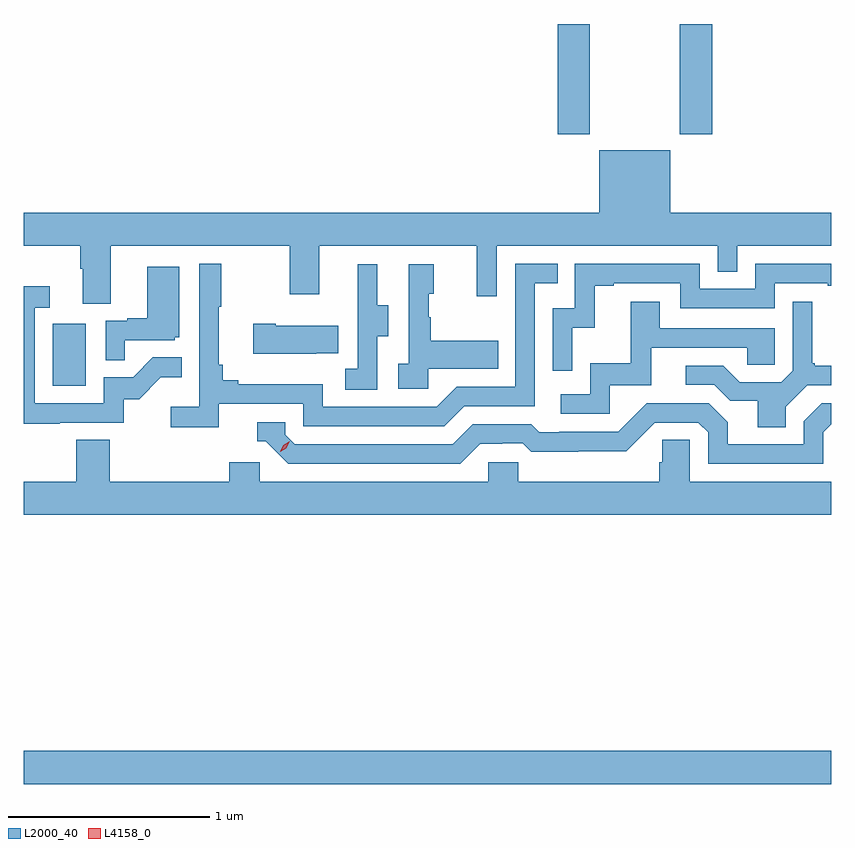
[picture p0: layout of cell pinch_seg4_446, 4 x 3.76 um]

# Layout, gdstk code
import gdstk
lib = gdstk.Library(unit=1e-6, precision=1e-09)
def R(c, l, rs):  # rectangles x0, y0, x1, y1
    for r in rs: c.add(gdstk.rectangle(r[:2], r[2:], *l))
def P(c, l, *ps):  # polygons
    for p in ps: c.add(gdstk.Polygon(p, *l))
L2000_40 = (2000, 40)
L4158_0 = (4158, 0)

pinch_seg4_446 = lib.new_cell('pinch_seg4_446')
R(pinch_seg4_446, L2000_40, [(901.549,774.176,905.549,774.34), (901.694,776.148,901.858,776.455), (904.193,777.393,904.353,777.939), (904.798,777.393,904.958,777.939)])
P(pinch_seg4_446, L2000_40, [(901.981,776.84),(902.866,776.84),(902.866,776.601),(903.013,776.601),(903.013,776.84),(903.794,776.84),(903.794,776.592),(903.891,776.592),(903.891,776.84),(904.986,776.84),(904.986,776.713),(905.082,776.713),(905.082,776.84),(905.549,776.84),(905.549,777.004),(904.75,777.004),(904.75,777.313),(904.4,777.313),(904.4,777.004),(901.549,777.004),(901.549,776.84),(901.829,776.84),(901.829,776.728),(901.841,776.728),(901.841,776.554),(901.981,776.554)],
  [(902.516,776.058),(902.934,776.058),(902.934,775.947),(903.631,775.947),(903.73,776.046),(904.08,776.046),(904.08,776.655),(904.193,776.655),(904.193,776.751),(903.984,776.751),(903.984,776.142),(903.693,776.142),(903.594,776.043),(903.03,776.043),(903.03,776.155),(902.611,776.155),(902.611,776.174),(902.534,776.174),(902.534,776.251),(902.515,776.251),(902.515,776.539),(902.527,776.539),(902.527,776.752),(902.418,776.752),(902.418,776.044),(902.277,776.044),(902.277,775.942),(902.516,775.942)],
  [(904.266,776.435),(904.376,776.435),(904.376,776.643),(904.471,776.643),(904.471,776.655),(904.8,776.655),(904.8,776.532),(905.268,776.532),(905.268,776.655),(905.531,776.655),(905.531,776.643),(905.549,776.643),(905.549,776.751),(905.172,776.751),(905.172,776.628),(904.896,776.628),(904.896,776.751),(904.278,776.751),(904.278,776.532),(904.17,776.532),(904.17,776.223),(904.266,776.223)],
  [(903.3,776.392),(903.355,776.392),(903.355,776.547),(903.301,776.547),(903.301,776.749),(903.203,776.749),(903.203,776.535),(903.204,776.535),(903.204,776.231),(903.141,776.231),(903.141,776.128),(903.3,776.128)],
  [(903.552,776.231),(903.899,776.231),(903.899,776.371),(903.565,776.371),(903.565,776.486),(903.555,776.486),(903.555,776.604),(903.58,776.604),(903.58,776.749),(903.456,776.749),(903.456,776.258),(903.405,776.258),(903.405,776.133),(903.552,776.133)],
  [(902.051,776.373),(902.298,776.373),(902.298,776.388),(902.32,776.388),(902.32,776.737),(902.162,776.737),(902.162,776.482),(902.063,776.482),(902.063,776.469),(901.956,776.469),(901.956,776.275),(902.051,776.275)],
  [(901.727,775.965),(902.046,775.965),(902.046,776.082),(902.122,776.082),(902.229,776.189),(902.333,776.189),(902.333,776.288),(902.189,776.288),(902.091,776.19),(901.947,776.19),(901.947,776.061),(901.605,776.061),(901.605,776.535),(901.678,776.535),(901.678,776.641),(901.549,776.641),(901.549,775.96),(901.727,775.96)],
  [(904.452,776.151),(904.657,776.151),(904.657,776.337),(905.131,776.337),(905.131,776.253),(905.268,776.253),(905.268,776.433),(904.699,776.433),(904.699,776.563),(904.555,776.563),(904.555,776.26),(904.356,776.26),(904.356,776.106),(904.209,776.106),(904.209,776.01),(904.452,776.01)],
  [(905.323,776.044),(905.43,776.151),(905.549,776.151),(905.549,776.248),(905.467,776.248),(905.467,776.26),(905.455,776.26),(905.455,776.563),(905.358,776.563),(905.358,776.223),(905.301,776.166),(905.095,776.166),(905.014,776.247),(904.827,776.247),(904.827,776.154),(904.968,776.154),(905.048,776.074),(905.183,776.074),(905.183,775.942),(905.323,775.942)],
  [(902.999,776.309),(903.107,776.309),(903.107,776.446),(902.797,776.446),(902.797,776.454),(902.685,776.454),(902.685,776.306),(902.999,776.306)],
  [(903.811,775.86),(903.918,775.86),(903.918,775.863),(904.021,775.863),(904.063,775.821),(904.296,775.821),(904.296,775.823),(904.532,775.823),(904.674,775.965),(904.89,775.965),(904.938,775.917),(904.938,775.761),(905.508,775.761),(905.508,775.917),(905.549,775.958),(905.549,776.061),(905.502,776.061),(905.412,775.971),(905.412,775.857),(905.035,775.857),(905.035,775.967),(904.941,776.061),(904.635,776.061),(904.494,775.92),(904.201,775.92),(904.201,775.917),(904.102,775.917),(904.063,775.956),(903.774,775.956),(903.675,775.857),(902.892,775.857),(902.844,775.905),(902.844,775.968),(902.705,775.968),(902.705,775.872),(902.748,775.872),(902.859,775.761),(903.712,775.761)],
  [(905.549,775.672),(904.848,775.672),(904.848,775.88),(904.711,775.88),(904.711,775.77),(904.697,775.77),(904.697,775.672),(903.999,775.672),(903.999,775.77),(903.849,775.77),(903.849,775.672),(902.718,775.672),(902.718,775.77),(902.567,775.77),(902.567,775.672),(901.976,775.672),(901.976,775.88),(901.811,775.88),(901.811,775.672),(901.549,775.672),(901.549,775.508),(905.549,775.508)])
P(pinch_seg4_446, L4158_0, [(902.819,775.82),(902.819,775.821),(902.836,775.853),(902.866,775.872),(902.867,775.872),(902.867,775.872),(902.85,775.839),(902.82,775.82)])

lib.write_gds('pinch_seg4_446.gds')
